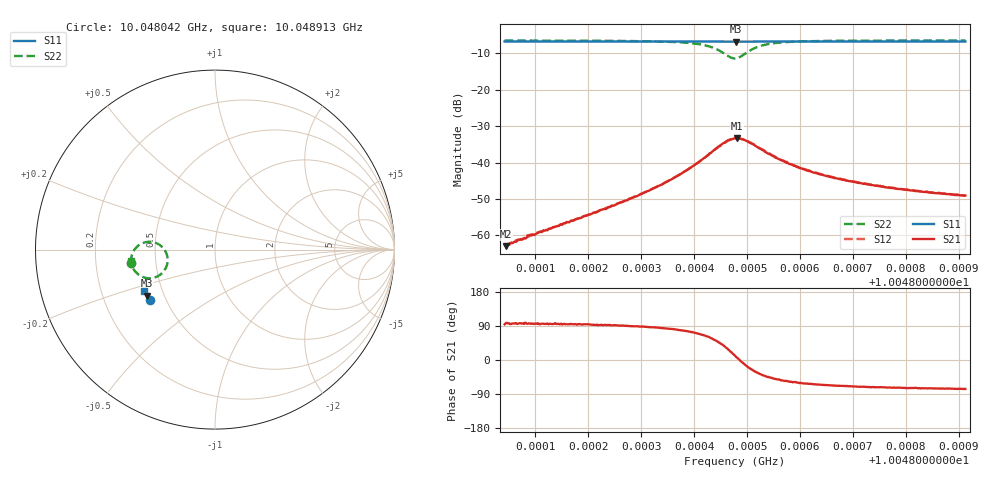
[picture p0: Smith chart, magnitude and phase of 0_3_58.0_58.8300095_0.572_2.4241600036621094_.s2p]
#  HZ  S  RI  R  50.00
! Rohde & Schwarz Vector Network Analyzer
! Rohde-Schwarz,ZNB20-2Port,1311601062101988,3.16
! Created: UTC 3/21/2024, 12:50:14 AM
! freq[Hz]  re:S11  im:S11  re:S21  im:S21  re:S12  im:S12  re:S22  im:S22
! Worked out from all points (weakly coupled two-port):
!   401 points, 10.048042 GHz to 10.048913 GHz, reference 50 ohm
!   highest |S21| = -33.33 dB at 10.048482 GHz (marker M1); lowest = -63.0 dB at 10.048044 GHz (marker M2)
!   lowest |S11| = -6.8 dB at 10.048479 GHz (marker M3), VSWR 2.68, Z = 20.1 - j13 ohm
!   |S11| at or under -10 dB: nowhere
!   |S22| runs from -11.4 to -6.5 dB; largest |S21 - S12| = 0.0019
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1.00480417e10  -0.3637 -0.2811  -5.37e-05 0.000741  -0.000133 0.000725  -0.4674 -0.0757
1.00480438e10  -0.3638 -0.2809  -8.75e-05 0.000705  -0.000143 0.000731  -0.4672 -0.0755
1.00480874e10  -0.3655 -0.2786  -0.000116 0.00099  -0.000158 0.000946  -0.4677 -0.0703
1.00481876e10  -0.3694 -0.273  -0.000119 0.00175  -0.000242 0.00176  -0.4674 -0.0561
1.00482769e10  -0.3728 -0.2682  2.08e-05 0.00316  -0.000177 0.00318  -0.4648 -0.0375
1.00483335e10  -0.375 -0.2647  0.000393 0.00479  0.000123 0.0048  -0.4586 -0.0185
1.00483836e10  -0.3767 -0.2616  0.00174 0.00744  0.00132 0.00756  -0.4422 0.00797
1.00484207e10  -0.3777 -0.2591  0.00506 0.0106  0.0045 0.0109  -0.4054 0.0351
1.00484381e10  -0.378 -0.2578  0.0089 0.0119  0.00796 0.0124  -0.3693 0.0433
1.00484533e10  -0.378 -0.2569  0.0137 0.0117  0.0129 0.0125  -0.3241 0.0347
1.00484642e10  -0.378 -0.2565  0.0179 0.00953  0.0169 0.0108  -0.29 0.01
1.00484773e10  -0.378 -0.2562  0.021 0.0043  0.0206 0.00569  -0.2648 -0.0427
1.00484795e10  -0.378 -0.2562  0.0212 0.00301  0.0208 0.00476  -0.264 -0.0529
1.00484817e10  -0.378 -0.2563  0.0215 0.00206  0.0212 0.00368  -0.2639 -0.0631
1.00484947e10  -0.3784 -0.2562  0.0201 -0.00385  0.0205 -0.00216  -0.2828 -0.1174
1.00485056e10  -0.3791 -0.2561  0.0172 -0.00707  0.018 -0.00574  -0.3129 -0.1451
1.00485339e10  -0.3809 -0.2548  0.0105 -0.00943  0.0113 -0.00894  -0.3827 -0.1581
1.00485688e10  -0.3825 -0.2527  0.00611 -0.00859  0.0068 -0.00825  -0.4253 -0.1401
1.00486232e10  -0.3847 -0.2497  0.00332 -0.00662  0.00376 -0.00653  -0.45 -0.115
1.00486908e10  -0.3872 -0.2457  0.002 -0.00525  0.00232 -0.0052  -0.4611 -0.0949
1.00487692e10  -0.39 -0.2412  0.00135 -0.0043  0.0016 -0.00428  -0.4665 -0.0797
1.00489129e10  -0.3947 -0.2327  0.000831 -0.00342  0.00104 -0.00338  -0.4706 -0.0608
